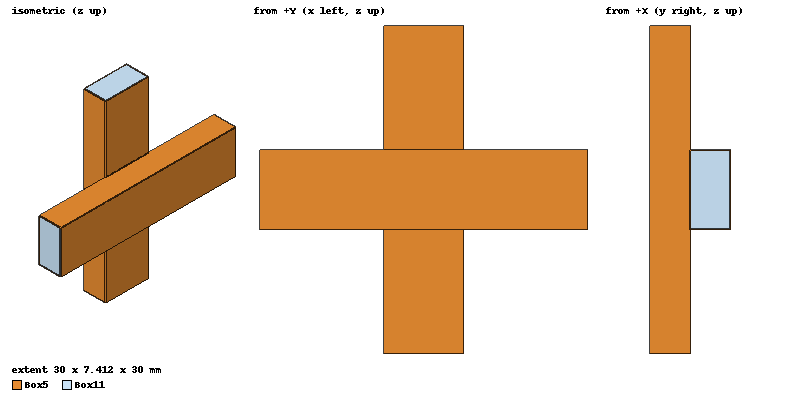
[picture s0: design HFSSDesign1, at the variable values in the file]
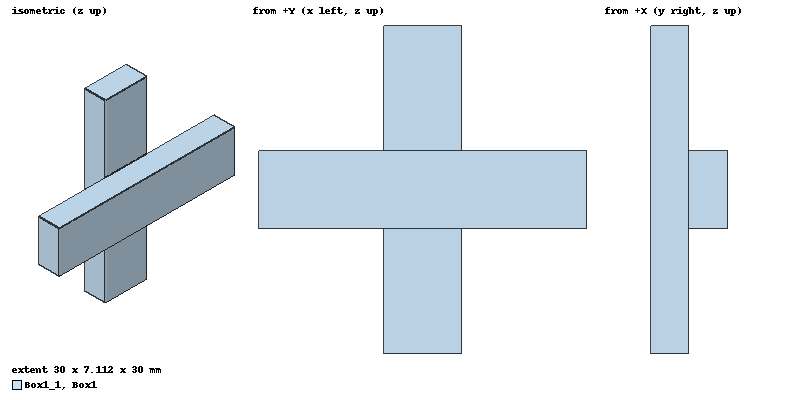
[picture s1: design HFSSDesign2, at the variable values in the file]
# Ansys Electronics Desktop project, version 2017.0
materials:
  vacuum: permittivity=1
  copper: permeability=0.999991 conductivity=58000000

design HFSSDesign1 (HFSS, DrivenModal, model units mm)
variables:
  a = 7.112mm
  b = 3.556mm
  L = 30mm
  s = 0.1mm
  w = 0.3mm
  len = 3mm
  dist = 1.7mm
  lambda = 0mm
  lamda = (39.1e9/3e8) mm
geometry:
  Box1 = box(corner=(-a/2, -b/2, -L/2), size=(a, b, L))
  Box2 = box(corner=(-a/2-s, -b/2-s, -L/2), size=(a+2*s, b+2*s, L))
  Box2.subtract(Box1)
  Box3 = box(corner=(-a/2-s, -b/2-s, -L/2), size=(a+2*s, b+2*s, L))
  Box4 = box(corner=(-a/2, -b/2, -L/2), size=(a, b, L))
  Box3.subtract(Box4)
  Box3.rotate(axis=Y, angle=90deg)
  Box3.move(0mm, b+s, 0mm)
  Box5 [copper] = box(corner=(-a/2, b/2, -a/2), size=(a, s, a))
  Box6 = box(corner=(-a/2, b/2, -a/2), size=(a, s, a))
  Box7 = box(corner=(-a/2, b/2, -a/2), size=(a, s, a))
  Box2.subtract(Box6)
  Box3.subtract(Box7)
  Box8 = box(corner=(-len/2, b/2, -w/2), size=(len, s, w))
  Box8_1 = Box8.duplicate_around_axis(axis=Y, angle=90deg, total=2)
  Box8.unite(Box8_1)
  Box8.rotate(axis=Y, angle=45deg)
  Box8.move(dist, 0mm, dist)
  Box8_2 = Box8.duplicate_around_axis(axis=Y, angle=180deg, total=2)
  Box5.subtract(Box8, Box8_2)
  Box5.unite(Box3, Box2)
  Box9 = box(corner=(-3.556mm, 1.778mm, 15mm), size=(7.112mm, -3.556mm, -30mm))
  Box10 = box(corner=(15mm, 1.878mm, 3.556mm), size=(-30mm, 3.556mm, -7.112mm))
  Box11 [vacuum] = box(corner=(-a/2, b/2, -a/2), size=(a, s, a))
  Box12 = box(corner=(-a/2, b/2, -a/2), size=(a, s, a))
  Box19 = box(corner=(-len/2, b/2, -w/2), size=(len, s, w))
  Box8_3 = Box19.duplicate_around_axis(axis=Y, angle=90deg, total=2)
  Box19.unite(Box8_3)
  Box19.rotate(axis=Y, angle=45deg)
  Box19.move(dist, 0mm, dist)
  Box8_4 = Box19.duplicate_around_axis(axis=Y, angle=180deg, total=2)
  Box12.subtract(Box19, Box8_4)
  Box15 = box(corner=(-a/2-s, -b/2-s, -L/2), size=(a+2*s, b+2*s, L))
  Box16 = box(corner=(-a/2, -b/2, -L/2), size=(a, b, L))
  Box15.subtract(Box16)
  Box15.rotate(axis=Y, angle=90deg)
  Box15.move(0mm, b+s, 0mm)
  Box18 = box(corner=(-a/2, b/2, -a/2), size=(a, s, a))
  Box15.subtract(Box18)
  Box14 = box(corner=(-a/2-s, -b/2-s, -L/2), size=(a+2*s, b+2*s, L))
  Box13 = box(corner=(-a/2, -b/2, -L/2), size=(a, b, L))
  Box14.subtract(Box13)
  Box17 = box(corner=(-a/2, b/2, -a/2), size=(a, s, a))
  Box14.subtract(Box17)
  Box12.unite(Box15, Box14)
  Box11.subtract(Box12)
  Box11.unite(Box10, Box9)
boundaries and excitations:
  1: Wave Port Faces=Box11.face(2 of 6) NumModes=1 Modes{Mode1{IntLine{middle of Box11.edge(6 of 12) -> middle of Box11.edge(8 of 12)} CharImp=Zpi}}
  2: Wave Port Faces=Box11.face(1 of 6) NumModes=1 Modes{Mode1{IntLine{middle of Box11.edge(4 of 12) -> middle of Box11.edge(2 of 12)} CharImp=Zpi}}
  3: Wave Port Faces=Box11.face(6 of 6) NumModes=1 Modes{Mode1{IntLine{middle of Box11.edge(10 of 12) -> middle of Box11.edge(12 of 12)} CharImp=Zpi}}
  4: Wave Port Faces=Box11.face(4 of 6) NumModes=1 Modes{Mode1{IntLine{middle of Box11.edge(9 of 12) -> middle of Box11.edge(11 of 12)} CharImp=Zpi}}
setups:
  Setup1: HfssDriven Frequency=39.1GHz MaxDeltaS=0.01 MaximumPasses=10 MinimumPasses=5 MinimumConvergedPasses=2 PercentRefinement=30 BasisOrder=1 PortAccuracy=2 RayDensityPerWavelength=4 MaxNumberOfBounces=5
    sweep Sweep: 37GHz to 41GHz, 451 points; Type=Interpolating InterpTolerance=0.5 InterpMaxSolns=250 InterpUsePortImped=false PassivityErrorTolerance=0.0001
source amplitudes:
  1:1: 1W 0deg
  2:1, 3:1, 4:1: 0W 0deg
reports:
  Moreno Coupler: dB(S(3,1)), dB(S(4,1)) vs Freq on Setup1 : Sweep; markers Couple at 39.1GHz, Isolation at 39.1GHz

design HFSSDesign2 (HFSS, DrivenModal, model units mm)
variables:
  a = 7.112mm
  b = 3.556mm
  L = 30mm
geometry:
  Box1 [vacuum] = box(corner=(-a/2, -b/2, -L/2), size=(a, b, L))
  Box1_1 [vacuum] = Box1.duplicate_around_axis(axis=Y, angle=90deg, total=2)
  Box1_1.move(0mm, b, 0mm)
